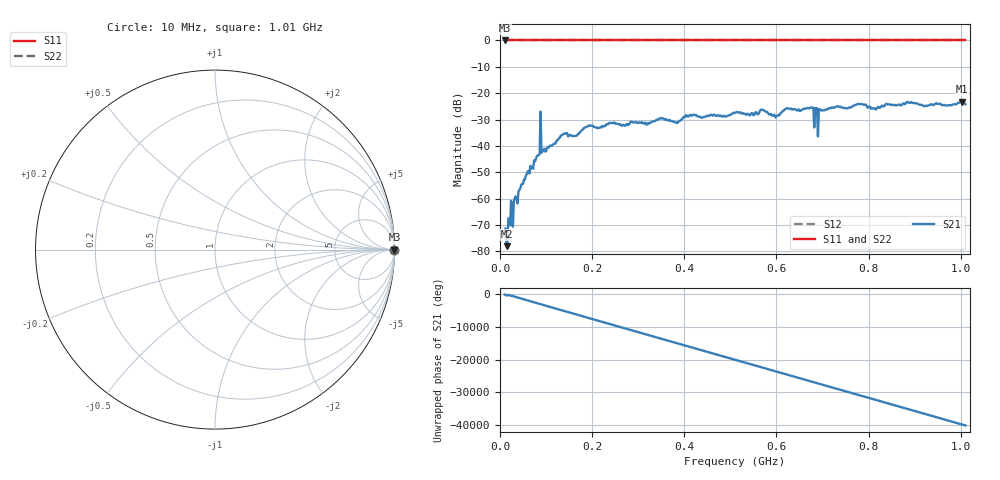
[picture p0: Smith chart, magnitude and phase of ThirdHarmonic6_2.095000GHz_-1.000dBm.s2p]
! 8/17/2025 1:04:24 AM
! C:\ANRITSUVNA\TEMP\TEMP.S2P
! CHANNEL.1
! TR.MEASUREMENT
! RAW.DATA
! RF.CORRECTION.OFF
! AVERAGING.OFF
! IF.BANDWIDTH: 5KHZ
! SWEEPTYPE:  FREQ.SWEEP(Linear)
! Reference Plane Port Info
! PORT:  PORT1  PORT2
! DISTANCE:  0  m  0  m
! TIME:  0  s  0  s
! PHASE.OFFSET:  0  deg.  0  deg.
! LOSS:  0  dB  0  dB
! REF.LOSS:  0  dB  0  dB
! REF.FREQ:  0  Hz  0  Hz
! Power Info
! POWER:  -20  dBm  -20  dBm
! EFF.POWER:  -20  dBm  -20  dBm
! SOURCE.ATTEN:  0  dB  0  dB
! TEST.ATTEN:  0  dB  0  dB
# GHZ S RI R 50.0
! FREQ.GHZ  S11RE  S11IM  S21RE  S21IM  S12RE  S12IM  S22RE  S22IM
!; PortSelection: Port_12
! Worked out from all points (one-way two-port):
!   501 points, 10 MHz to 1.01 GHz, reference 50 ohm
!   highest |S21| = -23.26 dB at 1.002 GHz (marker M1); lowest = -78.0 dB at 16 MHz (marker M2)
!   lowest |S11| = 0.0 dB at 10 MHz (marker M3)
!   |S11| at or under -10 dB: nowhere
!   |S22| runs from 0.0 to 0.0 dB; largest |S21 - S12| = 1.1
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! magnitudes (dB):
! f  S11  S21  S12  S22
! 10 MHz  0.0  -73.8  0.0  0.0
! 16 MHz  0.0  -78.0  0.0  0.0
! 18 MHz  0.0  -67.6  0.0  0.0
! 22 MHz  0.0  -70.1  0.0  0.0
! 34 MHz  0.0  -59.2  0.0  0.0
! 82 MHz  0.0  -43.6  0.0  0.0
! 84 MHz  0.0  -43.6  0.0  0.0
! 92 MHz  0.0  -42.1  0.0  0.0
! 96 MHz  0.0  -41.1  0.0  0.0
! 136 MHz  0.0  -35.7  0.0  0.0
! 178 MHz  0.0  -34.0  0.0  0.0
! 344 MHz  0.0  -29.9  0.0  0.0
! 382 MHz  0.0  -31.1  0.0  0.0
! 408 MHz  0.0  -28.9  0.0  0.0
! 510 MHz  0.0  -27.4  0.0  0.0
! 678 MHz  0.0  -25.6  0.0  0.0
! 686 MHz  0.0  -25.6  0.0  0.0
! 696 MHz  0.0  -26.2  0.0  0.0
! 732 MHz  0.0  -25.0  0.0  0.0
! 844 MHz  0.0  -24.2  0.0  0.0
! 1.002 GHz  0.0  -23.3  0.0  0.0
! 1.01 GHz  0.0  -24.2  0.0  0.0
